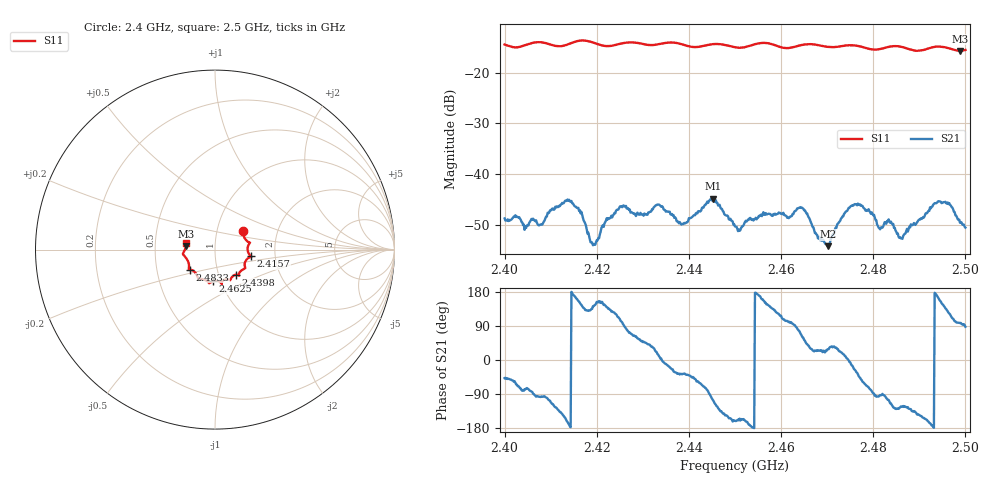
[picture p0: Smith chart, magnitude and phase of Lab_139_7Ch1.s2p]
# Hz S RI R 50
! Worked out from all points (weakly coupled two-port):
!   601 points, 2.4 GHz to 2.5 GHz, reference 50 ohm
!   highest |S21| = -44.80 dB at 2.4453 GHz (marker M1); lowest = -54.1 dB at 2.4702 GHz (marker M2)
!   lowest |S11| = -15.7 dB at 2.4988 GHz (marker M3), VSWR 1.39, Z = 36 + j1.37 ohm
!   |S11| at or under -10 dB: start of sweep to end of sweep
!   S12 and S22 are empty: the file has one direction only
!   S11 on the Smith chart (normalised r, x): 2.4 GHz: 1.33, +0.29; 2.4157 GHz: 1.49, -0.12; 2.4398 GHz: 1.21, -0.35; 2.4625 GHz: 0.92, -0.34; 2.4833 GHz: 0.74, -0.17; 2.5 GHz: 0.72, +0.06
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2.4e9  0.1564 0.1056  0.00247 -0.00273  0 0  0 0
2.407667e9  0.1951 0.0386  -0.000403 -0.00317  0 0  0 0
2.4135e9  0.1864 -0.0189  -0.00525 -0.00179  0 0  0 0
2.415667e9  0.1997 -0.0374  -0.00444 0.00149  0 0  0 0
2.416667e9  0.2026 -0.0406  -0.00351 0.00244  0 0  0 0
2.419333e9  0.1916 -0.0436  -0.0016 0.00125  0 0  0 0
2.425333e9  0.1671 -0.0968  -0.00098 0.00474  0 0  0 0
2.433333e9  0.1344 -0.1341  0.0049 0.00121  0 0  0 0
2.439833e9  0.1165 -0.1396  0.00268 -0.00222  0 0  0 0
2.445333e9  0.0851 -0.1703  -0.00177 -0.00548  0 0  0 0
2.45e9  0.0639 -0.1655  -0.00289 -0.00102  0 0  0 0
2.4625e9  -0.0103 -0.1767  -0.000416 0.00405  0 0  0 0
2.464667e9  -0.0288 -0.185  0.00234 0.00399  0 0  0 0
2.466667e9  -0.0332 -0.1871  0.00281 0.00154  0 0  0 0
2.470167e9  -0.0498 -0.1717  0.00173 0.000931  0 0  0 0
2.475667e9  -0.0927 -0.1604  0.00462 -0.00168  0 0  0 0
2.4815e9  -0.125 -0.1157  -0.000132 -0.00287  0 0  0 0
2.483333e9  -0.1399 -0.1114  -0.000962 -0.00347  0 0  0 0
2.486e9  -0.1458 -0.1044  -0.00127 -0.00197  0 0  0 0
2.494333e9  -0.1788 -0.023  -0.00506 0.00193  0 0  0 0
2.498833e9  -0.1623 0.0186  -0.000443 0.00331  0 0  0 0
2.5e9  -0.1625 0.0373  0.000118 0.00299  0 0  0 0
